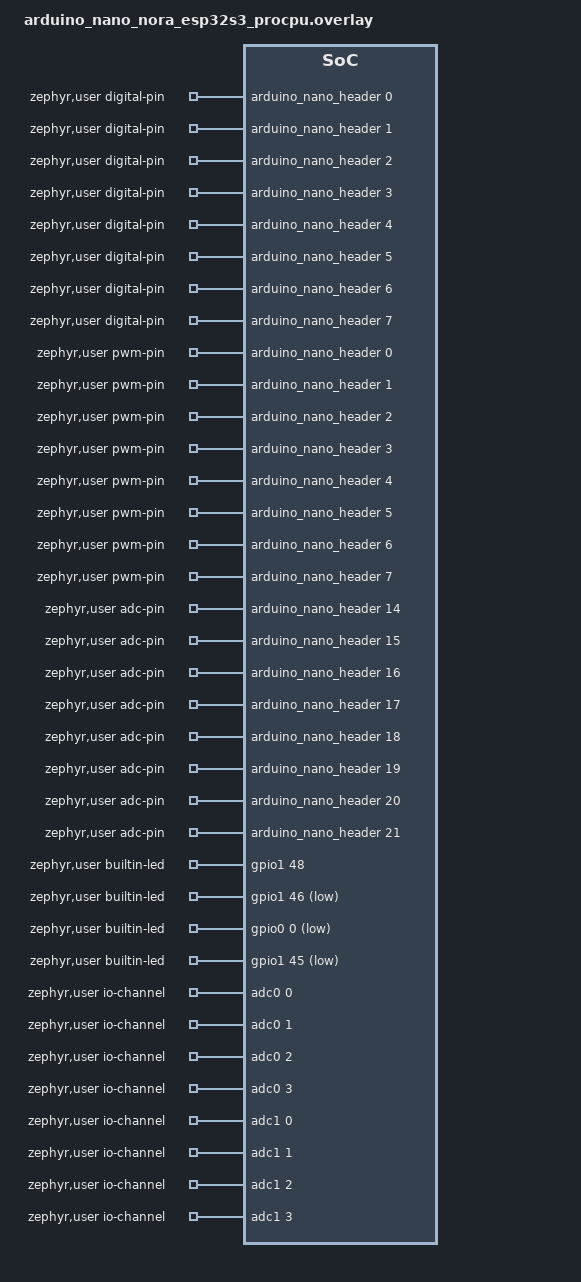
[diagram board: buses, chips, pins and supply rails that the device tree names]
/*
 * Copyright (c) 2025 Arduino SA
 * SPDX-License-Identifier: Apache-2.0
 */
#include <zephyr/dt-bindings/adc/adc.h>

/ {
	zephyr,user {
		digital-pin-gpios = <&arduino_nano_header 0 0>,
				    <&arduino_nano_header 1 0>,
				    <&arduino_nano_header 2 0>,
				    <&arduino_nano_header 3 0>,
				    <&arduino_nano_header 4 0>,
				    <&arduino_nano_header 5 0>,
				    <&arduino_nano_header 6 0>,
				    <&arduino_nano_header 7 0>,
				    <&arduino_nano_header 8 0>,
				    <&arduino_nano_header 9 0>,
				    <&arduino_nano_header 10 0>,
				    <&arduino_nano_header 11 0>,
				    <&arduino_nano_header 12 0>,
				    <&arduino_nano_header 13 0>,
				    <&arduino_nano_header 14 0>,
				    <&arduino_nano_header 15 0>,
				    <&arduino_nano_header 16 0>,
				    <&arduino_nano_header 17 0>,
				    <&arduino_nano_header 18 0>,
				    <&arduino_nano_header 19 0>,
				    <&arduino_nano_header 20 0>,
				    <&arduino_nano_header 21 0>;

		pwm-pin-gpios =	    <&arduino_nano_header 0 0>,
				    <&arduino_nano_header 1 0>,
				    <&arduino_nano_header 2 0>,
				    <&arduino_nano_header 3 0>,
				    <&arduino_nano_header 4 0>,
				    <&arduino_nano_header 5 0>,
				    <&arduino_nano_header 6 0>,
				    <&arduino_nano_header 7 0>,
				    <&arduino_nano_header 8 0>,
				    <&arduino_nano_header 9 0>,
				    <&arduino_nano_header 10 0>,
				    <&arduino_nano_header 11 0>,
				    <&arduino_nano_header 12 0>,
				    <&arduino_nano_header 13 0>,
				    <&arduino_nano_header 14 0>,
				    <&arduino_nano_header 15 0>,
				    <&arduino_nano_header 16 0>,
				    <&arduino_nano_header 17 0>,
				    <&arduino_nano_header 18 0>,
				    <&arduino_nano_header 19 0>,
				    <&arduino_nano_header 20 0>,
				    <&arduino_nano_header 21 0>;

		adc-pin-gpios =     <&arduino_nano_header 14 0>,
				    <&arduino_nano_header 15 0>,
				    <&arduino_nano_header 16 0>,
				    <&arduino_nano_header 17 0>,
				    <&arduino_nano_header 18 0>,
				    <&arduino_nano_header 19 0>,
				    <&arduino_nano_header 20 0>,
				    <&arduino_nano_header 21 0>;

		io-channels =	<&adc0 0>,
				<&adc0 1>,
				<&adc0 2>,
				<&adc0 3>,
				<&adc1 0>,
				<&adc1 1>,
				<&adc1 2>,
				<&adc1 3>;

		serials = <&usb_serial>, <&uart0>;
		i2cs = <&i2c0>;
		builtin-led-gpios = <&gpio1 48 GPIO_ACTIVE_HIGH>,
				<&gpio1 46 GPIO_ACTIVE_LOW>,
				<&gpio0 0 GPIO_ACTIVE_LOW>,
				<&gpio1 45 GPIO_ACTIVE_LOW>;

	};
};

// &flash0 {
// 	partitions {
// 		compatible = "fixed-partitions";
// 		#address-cells = <1>;
// 		#size-cells = <1>;
//
// 		boot_partition: partition@0 {
// 			label = "mcuboot";
// 			reg = <0x0 DT_SIZE_K(64)>;
// 		};
//
// 		sys_partition: partition@10000 {
// 			label = "sys";
// 			reg = <0x10000 DT_SIZE_K(64)>;
// 		};
//
// 		user_sketch: partition@7e0000 {
// 			label = "user_sketch";
// 			reg = <0x7E0000 DT_SIZE_K(7936)>;
// 		};
//
// 		storage_partition: partition@fb0000 {
// 			label = "storage";
// 			reg = <0xFB0000 DT_SIZE_K(192)>;
// 		};
// 	};
// };
